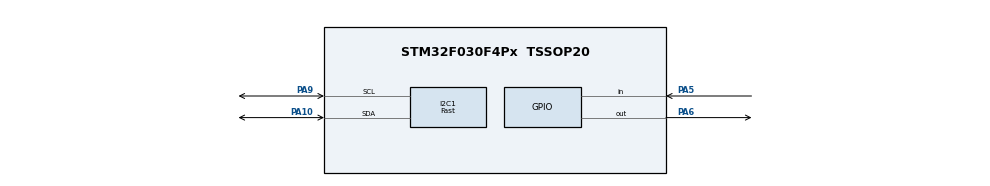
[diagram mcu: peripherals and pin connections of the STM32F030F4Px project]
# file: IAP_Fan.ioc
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CRC.DefaultInitValueUse=DEFAULT_INIT_VALUE_DISABLE
CRC.InitValue=0xffffffff
CRC.InputDataInversionMode=CRC_INPUTDATA_INVERSION_BYTE
CRC.OutputDataInversionMode=CRC_OUTPUTDATA_INVERSION_ENABLE
I2C1.I2C_Speed_Mode=I2C_Fast
I2C1.OwnAddress=0x54<<1
I2C1.Timing=0x0000020B
Mcu.Family=STM32F0
Mcu.Name=STM32F030F4Px
Mcu.Package=TSSOP20
NVIC.I2C1_IRQn=true\:0\:0\:false\:false\:true\:true\:true\:true
PA10.Mode=I2C
PA10.Signal=I2C1_SDA
PA13.Mode=Serial_Wire
PA13.Signal=SYS_SWDIO
PA14.Mode=Serial_Wire
PA14.Signal=SYS_SWCLK
PA5.GPIO_PuPd=GPIO_PULLDOWN
PA5.Signal=GPIO_Input
PA6.GPIO_PuPd=GPIO_PULLUP
PA6.PinState=GPIO_PIN_RESET
PA6.Signal=GPIO_Output
PA9.Mode=I2C
PA9.Signal=I2C1_SCL
ProjectManager.HeapSize=0x200
ProjectManager.StackSize=0x400
ProjectManager.TargetToolchain=STM32CubeIDE
VP_CRC_VS_CRC.Mode=CRC_Activate
board=custom

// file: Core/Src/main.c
/* USER CODE BEGIN Header */
/**
 ******************************************************************************
 * @file           : main.c
 * @brief          : Main program body
 ******************************************************************************
 * @attention
 *
 * Copyright (c) 2022 STMicroelectronics.
 * All rights reserved.
 *
 * This software is licensed under terms that can be found in the LICENSE file
 * in the root directory of this software component.
 * If no LICENSE file comes with this software, it is provided AS-IS.
 *
 ******************************************************************************
 */
/* USER CODE END Header */
#include "main.h"

/* USER CODE BEGIN Includes */
#include "stm32f0xx_flash.h"
/* USER CODE END Includes */

/* USER CODE BEGIN PTD */
typedef enum {
	NOEVENT = 0, // not enevt happen
	EVENT_OPCOD_NOTYET_READ = 1, // operation code not been read
	EVENT_OPCOD_READ = 2, // operation code has been readed
	EVENT_OPCOD_SEND = 3, // Feedback the status of MCU
	EVENT_OPCOD_BUSY_RECEIVE = 4 // I2C is in Busy of receive status
// EVENT_OPCOD_BUSY_SEND =5 // i2C is busy of send
} EventStatus;

/* USER CODE END PTD */

/* USER CODE BEGIN PD */
typedef void (*pFunction)(void);
/* this address is define */
#define APPLICATION_ADDRESS     ((uint32_t)0x08001000)
#define FW_LENGTH (((uint32_t)0x3000) - ((uint32_t)0x400))
#define FW_CRC_ADDR (((uint32_t)0x08004000) - ((uint32_t)0x400) - 4)

/* Error codes used to make the red led blinking */
#define ERROR_ERASE (0x01)
#define ERROR_PROG  (0x02)
#define ERROR_HALF_PROG (0x04)
#define ERROR_PROG_FLAG (0x08)
#define ERROR_WRITE_PROTECTION (0x10)
#define ERROR_FETCH_DURING_ERASE (0x20)
#define ERROR_FETCH_DURING_PROG (0x40)
#define ERROR_SIZE (0x80)
#define ERROR_ALIGNMENT (0x100)
#define ERROR_NOT_ZERO (0x200)
#define ERROR_UNKNOWN (0x400)
#define ERROR_I2C       (0x01)
#define ERROR_HSI_TIMEOUT (0x55)
#define ERROR_PLL_TIMEOUT (0xAA)
#define ERROR_CLKSWITCH_TIMEOUT (0xBB)

//#define  OPC_READ       (uint8_t)(0x03)
#define  OPC_WREN       (uint8_t)(0x06)
//#define  OPC_ERPG       (uint8_t)(0x20)
//#define  OPC_ERUSM      (uint8_t)(0x44)
#define  OPC_USRCD      (uint8_t)(0x77)

#define STM32F0xx_PAGE_SIZE 0x400
#define STM32F0xx_FLASH_PAGE0_STARTADDR 0x8000000
#define STM32F0xx_FLASH_PAGE1_STARTADDR (STM32F0xx_FLASH_PAGE0_STARTADDR+STM32F0xx_PAGE_SIZE)
#define STM32F0xx_FLASH_PAGE2_STARTADDR (STM32F0xx_FLASH_PAGE0_STARTADDR+2*STM32F0xx_PAGE_SIZE)
#define STM32F0xx_FLASH_PAGE3_STARTADDR (STM32F0xx_FLASH_PAGE0_STARTADDR+3*STM32F0xx_PAGE_SIZE)
#define STM32F0xx_FLASH_PAGE4_STARTADDR (STM32F0xx_FLASH_PAGE0_STARTADDR+4*STM32F0xx_PAGE_SIZE)
#define STM32F0xx_FLASH_PAGE5_STARTADDR (STM32F0xx_FLASH_PAGE0_STARTADDR+5*STM32F0xx_PAGE_SIZE)
#define STM32F0xx_FLASH_PAGE6_STARTADDR (STM32F0xx_FLASH_PAGE0_STARTADDR+6*STM32F0xx_PAGE_SIZE)
#define STM32F0xx_FLASH_PAGE7_STARTADDR (STM32F0xx_FLASH_PAGE0_STARTADDR+7*STM32F0xx_PAGE_SIZE)
#define STM32F0xx_FLASH_PAGE8_STARTADDR (STM32F0xx_FLASH_PAGE0_STARTADDR+8*STM32F0xx_PAGE_SIZE)
#define STM32F0xx_FLASH_PAGE9_STARTADDR (STM32F0xx_FLASH_PAGE0_STARTADDR+9*STM32F0xx_PAGE_SIZE)
#define STM32F0xx_FLASH_PAGE10_STARTADDR (STM32F0xx_FLASH_PAGE0_STARTADDR+10*STM32F0xx_PAGE_SIZE)
#define STM32F0xx_FLASH_PAGE11_STARTADDR (STM32F0xx_FLASH_PAGE0_STARTADDR+11*STM32F0xx_PAGE_SIZE)
#define STM32F0xx_FLASH_PAGE12_STARTADDR (STM32F0xx_FLASH_PAGE0_STARTADDR+12*STM32F0xx_PAGE_SIZE)
#define STM32F0xx_FLASH_PAGE13_STARTADDR (STM32F0xx_FLASH_PAGE0_STARTADDR+13*STM32F0xx_PAGE_SIZE)
#define STM32F0xx_FLASH_PAGE14_STARTADDR (STM32F0xx_FLASH_PAGE0_STARTADDR+14*STM32F0xx_PAGE_SIZE)
#define STM32F0xx_FLASH_PAGE15_STARTADDR (STM32F0xx_FLASH_PAGE0_STARTADDR+15*STM32F0xx_PAGE_SIZE)

#define FLASH_PAGE_SIZE         ((uint32_t)0x00000400)   /* FLASH Page Size */
#define FLASH_USER_START_ADDR   STM32F0xx_FLASH_PAGE5_STARTADDR   /* Start @ of user Flash area */
#define FLASH_USER_END_ADDR     STM32F0xx_FLASH_PAGE6_STARTADDR   /* End @ of user Flash area */
#define DATA_32                 ((uint32_t)0x22446688)
/* USER CODE END PD */

/* USER CODE BEGIN PV */
uint16_t I2C_Receive_Counter = 0;
//uint8_t I2C_Send_Counter=0;
uint8_t Receive_Buffer[1032];
EventStatus i2c_event = NOEVENT;
volatile uint16_t error;
uint32_t NbrOfPage = 0x00;
uint32_t EraseCounter = 0x00, Address = 0x00;
__IO FLASH_Status FLASHStatus = FLASH_COMPLETE;
__IO TestStatus MemoryProgramStatus = PASSED;
uint32_t JumpAddress;
pFunction JumpToApplication;
uint8_t opcode;
/* USER CODE END PV */

void SystemClock_Config(void);
static void MX_GPIO_Init(void);
static void MX_I2C1_Init(void);
static void MX_CRC_Init(void);

/* USER CODE BEGIN 0 */
uint32_t my_crc(uint8_t *buffer, uint32_t buffer_legnth) {
	uint32_t i;
	uint32_t temp = 0;
	LL_CRC_ResetCRCCalculationUnit(CRC);
	for (i = 0; i < buffer_legnth; i++) {
		LL_CRC_FeedData8(CRC, buffer[i]);
	}
	temp = (LL_CRC_ReadData32(CRC) ^ 0xffffffff);
	return temp;
}

uint8_t compute_fw_crc32(void) {
	uint32_t crcsum, crc_read, len;
	uint8_t *pdata = (uint8_t*) APPLICATION_ADDRESS;
	len = FW_LENGTH - 4;
	crc_read = *(uint32_t*) FW_CRC_ADDR;
	crcsum = my_crc(pdata, len);
	if (crc_read == crcsum) {
		return 1;
	} else {
		return 0;
	}
}

/**
 * Brief   This function handles I2C1 interrupt request.
 * Param   None
 * Retval  I2C1 always as slave of i2c conmunication
 */
void I2C1_IRQHandler(void) {
	uint32_t I2C_InterruptStatus = I2C1->ISR; /* Get interrupt status */

	if ((I2C_InterruptStatus & I2C_ISR_ADDR) == I2C_ISR_ADDR) /* Check address match */
	{
		I2C1->ICR |= I2C_ICR_ADDRCF; /* Clear address match flag */

		if ((I2C1->ISR & I2C_ISR_DIR) == I2C_ISR_DIR) /* Check if transfer direction is read (slave transmitter) */
		{
			I2C1->CR1 |= I2C_CR1_TXIE; /* Set transmit IT /status */
			i2c_event = EVENT_OPCOD_SEND; /* Set I2C  entor transmit mode */

		} else /* Write operation, slave receive status */
		{
			I2C1->CR1 |= I2C_CR1_RXIE; /* Set receive IT /status*/
			i2c_event = EVENT_OPCOD_BUSY_RECEIVE; /* Set I2C  entor receive mode*/
		}

		I2C1->CR1 |= I2C_CR1_STOPIE;             // Enable STOP interrupt

	} else if ((I2C_InterruptStatus & I2C_ISR_TXIS) == I2C_ISR_TXIS) {
		// add some application code in this place
	}
	/* check RXDR is not empty */
	else if ((I2C_InterruptStatus & I2C_ISR_RXNE) == I2C_ISR_RXNE) {
		// I2C_ISR_RXNE add you code in this place Tomas Li add
		Receive_Buffer[I2C_Receive_Counter++] = I2C1->RXDR;
		i2c_event = EVENT_OPCOD_BUSY_RECEIVE;   // slave is busy for receive data

	} else if ((I2C_InterruptStatus & I2C_ISR_NACKF) == I2C_ISR_NACKF) {

	}
	/* check Stop event happen */
	if ((I2C_InterruptStatus & I2C_ISR_STOPF) == I2C_ISR_STOPF) {

		I2C1->ICR |= I2C_ICR_STOPCF;             // clear the STOP interrupt Flag

#if 1
		switch (i2c_event) {
		case EVENT_OPCOD_BUSY_RECEIVE:          // slave receive status Stop flag
			I2C_Receive_Counter = 0;
			i2c_event = EVENT_OPCOD_NOTYET_READ;
			I2C1->CR1 &= ~(I2C_CR1_STOPIE); // Disable all interrupt.except Error interrupt
			I2C1->CR2 |= I2C_CR2_NACK; // set feedback Nack in next event
			I2C1->CR1 |= I2C_CR1_ADDRIE;
			break;
		case EVENT_OPCOD_SEND: // slave send stop
			I2C1->ICR |= I2C_ICR_STOPCF | I2C_ICR_NACKCF | I2C_ICR_BERRCF; // clear the STOP interrupt Flag
			I2C1->CR1 |= I2C_CR1_ADDRIE;
			i2c_event = NOEVENT;
			break;
		default:
			break;
		}
#endif

	} else {
		error = ERROR_I2C; /* Report an error */

	}
}

void reset_all_periph(void) {
	LL_I2C_DeInit(I2C1);
	LL_I2C_DisableAutoEndMode(I2C1);
	LL_I2C_Disable(I2C1);
	LL_I2C_DisableIT_ADDR(I2C1);
	SysTick->CTRL = 0;
	SYSCFG->CFGR1 &= SYSCFG_CFGR1_MEM_MODE;
	/* Set EXTICRx registers to reset value */
	SYSCFG->EXTICR[0] = 0;
	SYSCFG->EXTICR[1] = 0;
	SYSCFG->EXTICR[2] = 0;
	SYSCFG->EXTICR[3] = 0;
	/* Set CFGR2 register to reset value: clear SRAM parity error flag */
	SYSCFG->CFGR2 |= (uint32_t) SYSCFG_CFGR2_SRAM_PE;
	LL_RCC_DeInit();
	LL_PWR_DeInit();
}

void jump_app(void) {
	if (compute_fw_crc32()) {
		/* check the application address context whether avilible */
		if (((*(__IO uint32_t*) APPLICATION_ADDRESS) & 0x2FFE0000)
				== 0x20000000) {
			reset_all_periph();
			/* Jump to user application */
			JumpAddress = *(__IO uint32_t*) (APPLICATION_ADDRESS + 4);
			JumpToApplication = (pFunction) JumpAddress;
			/* Initialize user application's Stack Pointer */
			__set_MSP(*(__IO uint32_t*) APPLICATION_ADDRESS);
			JumpToApplication();
		}
	}

}

void write_code(void) {
	uint16_t Number_Bytes_Transferred = 0;
	uint32_t Add_Flash, end_add_flash;
	uint32_t Data = 0;
	uint16_t Data_index = 8;

	Add_Flash = Receive_Buffer[1] << 24 | Receive_Buffer[2] << 16
			| Receive_Buffer[3] << 8 | Receive_Buffer[4] << 0;
	end_add_flash = Add_Flash + 1024;

	Number_Bytes_Transferred = (Receive_Buffer[5] << 8) + Receive_Buffer[6];

	if (Number_Bytes_Transferred > 0) {
		FLASH_Unlock();
		FLASH_ClearFlag(FLASH_FLAG_EOP | FLASH_FLAG_PGERR | FLASH_FLAG_WRPERR);

		while (FLASH_ErasePage(Add_Flash) != FLASH_COMPLETE) {
			/* Error occurred while sector erase.
			 User can add here some code to deal with this error  */
		}
		while (Add_Flash < end_add_flash) {
			Data = Receive_Buffer[Data_index]
					| (Receive_Buffer[Data_index + 1] << 8)
					| (Receive_Buffer[Data_index + 2] << 16)
					| (Receive_Buffer[Data_index + 3] << 24);
			while (FLASH_ProgramWord(Add_Flash, Data) != FLASH_COMPLETE) {
			}
			Add_Flash = Add_Flash + 4;
			Data_index = Data_index + 4;
		}
	}
	for (int i = 0; i < sizeof(Receive_Buffer); i++) {
		Receive_Buffer[i] = 0;
	}
	FLASH_Lock();
}

void iap_i2c(void) {
	/* this is a endless loop for process the data from Host side */
	while (1) {
		/* Tomas_Li_Test();Just for Test */
		if (i2c_event == EVENT_OPCOD_NOTYET_READ) {
			NVIC_DisableIRQ(I2C1_IRQn);
			i2c_event = NOEVENT;        // changed the status
			/* Read opcode */
			opcode = Receive_Buffer[0];
			switch (opcode) {
			case OPC_WREN :
				write_code();
				break;
			case OPC_USRCD :
				jump_app();
				break;
			default:
				break;
			}
			NVIC_EnableIRQ(I2C1_IRQn);
			I2C1->CR1 |= I2C_CR1_ADDRIE;       // Open address and Stop interrupt
			LL_I2C_Enable(I2C1);
			LL_I2C_EnableIT_ADDR(I2C1);
		}
	}
}

static void iap_gpio_init(void) {
	LL_GPIO_InitTypeDef GPIO_InitStruct = { 0 };

	/* GPIO Ports Clock Enable */
	LL_AHB1_GRP1_EnableClock(LL_AHB1_GRP1_PERIPH_GPIOA);

	GPIO_InitStruct.Pin = LL_GPIO_PIN_9;
	GPIO_InitStruct.Mode = LL_GPIO_MODE_INPUT;
	GPIO_InitStruct.Pull = LL_GPIO_PULL_UP;
	LL_GPIO_Init(GPIOA, &GPIO_InitStruct);

	GPIO_InitStruct.Pin = LL_GPIO_PIN_10;
	GPIO_InitStruct.Mode = LL_GPIO_MODE_INPUT;
	GPIO_InitStruct.Pull = LL_GPIO_PULL_UP;
	LL_GPIO_Init(GPIOA, &GPIO_InitStruct);
}
/* USER CODE END 0 */

int main(void) {

	/* MCU Configuration--------------------------------------------------------*/

	/* Reset of all peripherals, Initializes the Flash interface and the Systick. */
	LL_APB1_GRP2_EnableClock(LL_APB1_GRP2_PERIPH_SYSCFG);
	LL_APB1_GRP1_EnableClock(LL_APB1_GRP1_PERIPH_PWR);

	/* SysTick_IRQn interrupt configuration */
	NVIC_SetPriority(SysTick_IRQn, 3);

	/* Configure the system clock */
	SystemClock_Config();

	/* Initialize all configured peripherals */
	MX_GPIO_Init();
//	MX_I2C1_Init();
	MX_CRC_Init();
	/* USER CODE BEGIN 2 */
	iap_gpio_init();
	LL_mDelay(300);
	if ((!(!!(GPIOA->IDR & LL_GPIO_PIN_9)))
			&& (!(!!(GPIOA->IDR & LL_GPIO_PIN_10)))) {
		MX_I2C1_Init();
		LL_I2C_Enable(I2C1);
		LL_I2C_EnableIT_ADDR(I2C1);
		iap_i2c();
	} else {
		jump_app();
	}
	MX_I2C1_Init();
	LL_I2C_Enable(I2C1);
	LL_I2C_EnableIT_ADDR(I2C1);
	iap_i2c();

	/* USER CODE END 2 */

	/* Infinite loop */
	while (1) {

	}
}

void SystemClock_Config(void) {
	LL_FLASH_SetLatency(LL_FLASH_LATENCY_0);
	while (LL_FLASH_GetLatency() != LL_FLASH_LATENCY_0) {
	}
	LL_RCC_HSI_Enable();

	/* Wait till HSI is ready */
	while (LL_RCC_HSI_IsReady() != 1) {

	}
	LL_RCC_HSI_SetCalibTrimming(16);
	LL_RCC_SetAHBPrescaler(LL_RCC_SYSCLK_DIV_1);
	LL_RCC_SetAPB1Prescaler(LL_RCC_APB1_DIV_1);
	LL_RCC_SetSysClkSource(LL_RCC_SYS_CLKSOURCE_HSI);

	/* Wait till System clock is ready */
	while (LL_RCC_GetSysClkSource() != LL_RCC_SYS_CLKSOURCE_STATUS_HSI) {

	}
	LL_Init1msTick(8000000);
	LL_SetSystemCoreClock(8000000);
	LL_RCC_SetI2CClockSource(LL_RCC_I2C1_CLKSOURCE_HSI);
}

static void MX_CRC_Init(void) {

	/* Peripheral clock enable */
	LL_AHB1_GRP1_EnableClock(LL_AHB1_GRP1_PERIPH_CRC);

	LL_CRC_SetInputDataReverseMode(CRC, LL_CRC_INDATA_REVERSE_BYTE);
	LL_CRC_SetOutputDataReverseMode(CRC, LL_CRC_OUTDATA_REVERSE_BIT);
	LL_CRC_SetInitialData(CRC, 0xffffffff);

}

static void MX_I2C1_Init(void) {

	LL_I2C_InitTypeDef I2C_InitStruct = { 0 };

	LL_GPIO_InitTypeDef GPIO_InitStruct = { 0 };

	LL_AHB1_GRP1_EnableClock(LL_AHB1_GRP1_PERIPH_GPIOA);
	/**I2C1 GPIO Configuration
	 PA9   ------> I2C1_SCL
	 PA10   ------> I2C1_SDA
	 */
	GPIO_InitStruct.Pin = LL_GPIO_PIN_9;
	GPIO_InitStruct.Mode = LL_GPIO_MODE_ALTERNATE;
	GPIO_InitStruct.Speed = LL_GPIO_SPEED_FREQ_HIGH;
	GPIO_InitStruct.OutputType = LL_GPIO_OUTPUT_OPENDRAIN;
	GPIO_InitStruct.Pull = LL_GPIO_PULL_NO;
	GPIO_InitStruct.Alternate = LL_GPIO_AF_4;
	LL_GPIO_Init(GPIOA, &GPIO_InitStruct);

	GPIO_InitStruct.Pin = LL_GPIO_PIN_10;
	GPIO_InitStruct.Mode = LL_GPIO_MODE_ALTERNATE;
	GPIO_InitStruct.Speed = LL_GPIO_SPEED_FREQ_HIGH;
	GPIO_InitStruct.OutputType = LL_GPIO_OUTPUT_OPENDRAIN;
	GPIO_InitStruct.Pull = LL_GPIO_PULL_NO;
	GPIO_InitStruct.Alternate = LL_GPIO_AF_4;
	LL_GPIO_Init(GPIOA, &GPIO_InitStruct);

	/* Peripheral clock enable */
	LL_APB1_GRP1_EnableClock(LL_APB1_GRP1_PERIPH_I2C1);

	/* I2C1 interrupt Init */
	NVIC_SetPriority(I2C1_IRQn, 0);
	NVIC_EnableIRQ(I2C1_IRQn);

	/** I2C Initialization
	 */
	LL_I2C_DisableOwnAddress2(I2C1);
	LL_I2C_DisableGeneralCall(I2C1);
	LL_I2C_EnableClockStretching(I2C1);
	I2C_InitStruct.PeripheralMode = LL_I2C_MODE_I2C;
	I2C_InitStruct.Timing = 0x0000020B;
	I2C_InitStruct.AnalogFilter = LL_I2C_ANALOGFILTER_ENABLE;
	I2C_InitStruct.DigitalFilter = 0;
	I2C_InitStruct.OwnAddress1 = 0x54 << 1;
	I2C_InitStruct.TypeAcknowledge = LL_I2C_ACK;
	I2C_InitStruct.OwnAddrSize = LL_I2C_OWNADDRESS1_7BIT;
	LL_I2C_Init(I2C1, &I2C_InitStruct);
	LL_I2C_EnableAutoEndMode(I2C1);
	LL_I2C_SetOwnAddress2(I2C1, 0, LL_I2C_OWNADDRESS2_NOMASK);

}

static void MX_GPIO_Init(void) {
	LL_GPIO_InitTypeDef GPIO_InitStruct = { 0 };

	/* GPIO Ports Clock Enable */
	LL_AHB1_GRP1_EnableClock(LL_AHB1_GRP1_PERIPH_GPIOA);

	/**/
	LL_GPIO_ResetOutputPin(GPIOA, LL_GPIO_PIN_6);

	/**/
	GPIO_InitStruct.Pin = LL_GPIO_PIN_5;
	GPIO_InitStruct.Mode = LL_GPIO_MODE_INPUT;
	GPIO_InitStruct.Pull = LL_GPIO_PULL_DOWN;
	LL_GPIO_Init(GPIOA, &GPIO_InitStruct);

	/**/
	GPIO_InitStruct.Pin = LL_GPIO_PIN_6;
	GPIO_InitStruct.Mode = LL_GPIO_MODE_OUTPUT;
	GPIO_InitStruct.Speed = LL_GPIO_SPEED_FREQ_LOW;
	GPIO_InitStruct.OutputType = LL_GPIO_OUTPUT_PUSHPULL;
	GPIO_InitStruct.Pull = LL_GPIO_PULL_UP;
	LL_GPIO_Init(GPIOA, &GPIO_InitStruct);

}

void Error_Handler(void) {
	__disable_irq();
	while (1) {
	}
}
